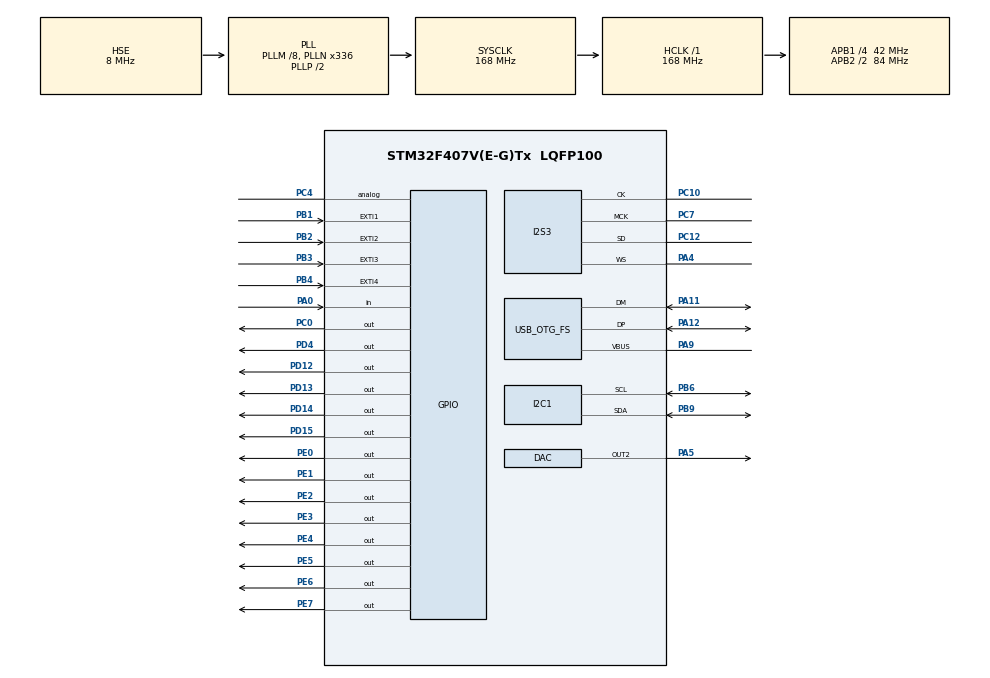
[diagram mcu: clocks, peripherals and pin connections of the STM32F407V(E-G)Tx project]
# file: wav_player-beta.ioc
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Dma.Request0=SPI3_TX
Dma.SPI3_TX.0.Direction=DMA_MEMORY_TO_PERIPH
Dma.SPI3_TX.0.FIFOMode=DMA_FIFOMODE_ENABLE
Dma.SPI3_TX.0.FIFOThreshold=DMA_FIFO_THRESHOLD_FULL
Dma.SPI3_TX.0.Instance=DMA1_Stream5
Dma.SPI3_TX.0.MemBurst=DMA_MBURST_SINGLE
Dma.SPI3_TX.0.MemDataAlignment=DMA_MDATAALIGN_HALFWORD
Dma.SPI3_TX.0.MemInc=DMA_MINC_ENABLE
Dma.SPI3_TX.0.Mode=DMA_CIRCULAR
Dma.SPI3_TX.0.PeriphBurst=DMA_PBURST_SINGLE
Dma.SPI3_TX.0.PeriphDataAlignment=DMA_PDATAALIGN_HALFWORD
Dma.SPI3_TX.0.PeriphInc=DMA_PINC_DISABLE
Dma.SPI3_TX.0.Priority=DMA_PRIORITY_LOW
I2S3.AudioFreq=I2S_AUDIOFREQ_44K
I2S3.ErrorAudioFreq=0.24 %
I2S3.FullDuplexMode=I2S_FULLDUPLEXMODE_DISABLE
I2S3.Instance=SPI$Index
I2S3.RealAudioFreq=44.108 KHz
I2S3.VirtualMode=I2S_MODE_MASTER
Mcu.Family=STM32F4
Mcu.Name=STM32F407V(E-G)Tx
Mcu.Package=LQFP100
NVIC.DMA1_Stream5_IRQn=true\:0\:0\:false\:false\:true\:false\:true\:true
NVIC.EXTI1_IRQn=true\:0\:0\:false\:false\:true\:true\:true\:true
NVIC.EXTI2_IRQn=true\:0\:0\:false\:false\:true\:true\:true\:true
NVIC.EXTI3_IRQn=true\:0\:0\:false\:false\:true\:true\:true\:true
NVIC.EXTI4_IRQn=true\:0\:0\:false\:false\:true\:true\:true\:true
NVIC.OTG_FS_IRQn=true\:0\:0\:false\:false\:true\:false\:true\:true
NVIC.PriorityGroup=NVIC_PRIORITYGROUP_0
PA0-WKUP.Signal=GPIO_Input
PA11.Mode=Host_Only
PA11.Signal=USB_OTG_FS_DM
PA12.Mode=Host_Only
PA12.Signal=USB_OTG_FS_DP
PA4.Mode=Half_Duplex_Master
PA4.Signal=I2S3_WS
PA5.Signal=COMP_DAC2_group
PA9.Mode=Activate_VBUS
PA9.Signal=USB_OTG_FS_VBUS
PB1.GPIO_PuPd=GPIO_PULLDOWN
PB1.Signal=GPXTI1
PB2.GPIO_PuPd=GPIO_PULLDOWN
PB2.Signal=GPXTI2
PB3.GPIO_PuPd=GPIO_PULLDOWN
PB3.Signal=GPXTI3
PB4.GPIO_PuPd=GPIO_PULLDOWN
PB4.Signal=GPXTI4
PB6.Mode=I2C
PB6.Signal=I2C1_SCL
PB9.Mode=I2C
PB9.Signal=I2C1_SDA
PC0.Signal=GPIO_Output
PC10.Mode=Half_Duplex_Master
PC10.Signal=I2S3_CK
PC12.Mode=Half_Duplex_Master
PC12.Signal=I2S3_SD
PC4.Signal=GPIO_Analog
PC7.Mode=Master_Clock_Activated
PC7.Signal=I2S3_MCK
PD12.GPIO_PuPd=GPIO_NOPULL
PD12.Signal=GPIO_Output
PD13.GPIO_PuPd=GPIO_NOPULL
PD13.Signal=GPIO_Output
PD14.GPIO_PuPd=GPIO_NOPULL
PD14.Signal=GPIO_Output
PD15.GPIO_PuPd=GPIO_NOPULL
PD15.Signal=GPIO_Output
PD4.Signal=GPIO_Output
PE0.Signal=GPIO_Output
PE1.Signal=GPIO_Output
PE2.Signal=GPIO_Output
PE3.Signal=GPIO_Output
PE4.Signal=GPIO_Output
PE5.Signal=GPIO_Output
PE6.Signal=GPIO_Output
PE7.Signal=GPIO_Output
PH0-OSC_IN.Mode=HSE-External-Oscillator
PH0-OSC_IN.Signal=RCC_OSC_IN
PH1-OSC_OUT.Mode=HSE-External-Oscillator
PH1-OSC_OUT.Signal=RCC_OSC_OUT
ProjectManager.HeapSize=0x2000
ProjectManager.StackSize=0x2000
ProjectManager.TargetToolchain=STM32CubeIDE
RCC.48MHZClocksFreq_Value=48000000
RCC.AHBFreq_Value=168000000
RCC.APB1CLKDivider=RCC_HCLK_DIV4
RCC.APB1Freq_Value=42000000
RCC.APB1TimFreq_Value=84000000
RCC.APB2CLKDivider=RCC_HCLK_DIV2
RCC.APB2Freq_Value=84000000
RCC.APB2TimFreq_Value=168000000
RCC.CortexFreq_Value=168000000
RCC.HCLKFreq_Value=168000000
RCC.HSE_VALUE=8000000
RCC.HSI_VALUE=16000000
RCC.LSE_VALUE=32768
RCC.PLLI2SN=271
RCC.PLLI2SR=6
RCC.PLLM=8
RCC.PLLN=336
RCC.PLLQ=7
RCC.SYSCLKFreq_VALUE=168000000
RCC.SYSCLKSource=RCC_SYSCLKSOURCE_PLLCLK
RCC.VCOOutputFreq_Value=336000000
SH.COMP_DAC2_group.0=DAC_OUT2,DAC_OUT2
TIM1.Period=0xFFFF-1
TIM1.Prescaler=72-1
USB_HOST.USBH_HandleTypeDef-MSC_FS=hUsbHostFS
USB_HOST.VirtualModeFS=Msc
USB_OTG_FS.VirtualMode=Host_Only
USB_OTG_FS.phy_itface=HCD_PHY_EMBEDDED
VP_FATFS_VS_USB.Mode=USB
VP_TIM1_VS_ClockSourceINT.Mode=Internal
VP_USB_HOST_VS_USB_HOST_MSC_FS.Mode=MSC_FS
board=STM32F407G-DISC1

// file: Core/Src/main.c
/* USER CODE BEGIN Header */
/*
 *  main.c
 *  @description: The header file for the application entry. Inside
 *  the application entry header file, only the error handler function
 *  is allowed to be exposed to public, the main application entry is
 *  internal.
 *
 *  @Reference:
 *  1.The ST Code Generation Feature via *.ioc file edit.
 *  https://www.alldatasheet.com/datasheet-pdf/pdf/63673/HITACHI/HD44780.html
 *  2.ST open-source HAL GPIO drivers
 *  3. https://github.com/MYaqoobEmbedded/STM32-Tutorials/tree/master/Tutorial%2043%20-%20WAV%20Player
 *
 *  @Code Leverage: The main( ) of the above tutorial is studied as the reference
 *  for the main program logic. The implementation takes the tutorial implementation
 *  as the reference. Specifically, the application state logic is leveraged.
 *
 *  @Author: Shuran Xu & Ritika Ramchandani
 *  @Revision: 2.0
 *  @Date 2022-12-12
 */
/* USER CODE END Header */
#include "main.h"
#include "fatfs.h"
#include "usb_host.h"

/* USER CODE BEGIN Includes */
#include "cs43l22.h"
#include "wav_player.h"
#include "lcd.h"
#include <string.h>
#include <stdio.h>
/* USER CODE END Includes */

/* USER CODE BEGIN PTD */
extern ApplicationTypeDef Appli_state;
/* USER CODE END PTD */

DAC_HandleTypeDef hdac;

I2C_HandleTypeDef hi2c1;

I2S_HandleTypeDef hi2s3;
DMA_HandleTypeDef hdma_spi3_tx;

TIM_HandleTypeDef htim1;

/* USER CODE BEGIN PV */
#define NUM_SONGS 			(11)
#define DEFAULT_SONG_IDX 	(1)
#define GREEN_LED	        (GPIO_PIN_12)
#define ORANGE_LED			(GPIO_PIN_13)
#define RED_LED				(GPIO_PIN_14)
#define BLUE_LED			(GPIO_PIN_15)
#define PUSH_BUTTON1		(GPIO_PIN_0)
#define EXT_PB1				(GPIO_PIN_1)
#define EXT_PB2				(GPIO_PIN_2)
#define EXT_PB3				(GPIO_PIN_3)
#define EXT_PB4				(GPIO_PIN_4)
#define DELAY_200MS			(200)
#define DELAY_500MS			(500)
#define DELAY_1S			(1000)
#define DELAY_4S			(4000)

const char* songs[NUM_SONGS] = {"Song1.wav", "Song2.wav", "Song3.wav", "Song4.wav", "Song5.wav", "Song6.wav",
		"Song7.wav", "Song8.wav", "Song9.wav", "Song10.wav", "Song11.wav"};
/* USER CODE END PV */

void SystemClock_Config(void);
static void MX_GPIO_Init(void);
static void MX_DMA_Init(void);
static void MX_I2C1_Init(void);
static void MX_I2S3_Init(void);
static void MX_TIM1_Init(void);
static void MX_DAC_Init(void);
void MX_USB_HOST_Process(void);

/* USER CODE BEGIN PFP */
typedef enum{
	CURR_SONG=0,
	NEXT_SONG,
	PREV_SONG
}song_mov_t;
/* USER CODE END PFP */

/* USER CODE BEGIN 0 */
volatile uint8_t volume = 200;
volatile uint8_t song_idx = DEFAULT_SONG_IDX;
volatile song_mov_t song_mov = CURR_SONG;

static void display_song_info(void)
{
	lcd_clear();
	HAL_Delay(DELAY_500MS);
	lcd_update_cur(0, 0);
	char str[64];
	sprintf(str,"Song:%s", songs[song_idx]);
	lcd_write_string(str);
	lcd_update_cur(1, 0);
	sprintf(str,"Volume(dB):%d", volume);
	lcd_write_string(str);
}

static void update_volume_display(void)
{
	char str[32];
	lcd_update_cur(1, 0);
	sprintf(str,"Volume(dB):%d", volume);
	lcd_write_string(str);
}

/* USER CODE END 0 */

int main(void)
{

  /* MCU Configuration--------------------------------------------------------*/

  /* Reset of all peripherals, Initializes the Flash interface and the Systick. */
  HAL_Init();

  /* Configure the system clock */
  SystemClock_Config();

  /* Initialize all configured peripherals */
  MX_GPIO_Init();
  MX_DMA_Init();
  MX_I2C1_Init();
  MX_I2S3_Init();
  MX_FATFS_Init();
  MX_USB_HOST_Init();
  MX_TIM1_Init();
  MX_DAC_Init();
  /* USER CODE BEGIN 2 */

  HAL_TIM_Base_Start(&htim1);
  lcd_init ();
  lcd_clear();
  HAL_Delay(DELAY_1S);
  lcd_update_cur(0, 0);
  lcd_write_string("MINI ");
  lcd_write_string("WAV Player ");
  HAL_Delay(DELAY_4S);
  lcd_clear();

  CS43_init(hi2c1);
  wavPlayer_reset();

  volatile bool isSdCardMounted = 0;
  volatile bool pauseResumeToggle = 0;
  volatile bool start_song = 0;

  song_idx = DEFAULT_SONG_IDX;
  /* USER CODE END 2 */

  /* Infinite loop */
  while (1)
  {
    MX_USB_HOST_Process();

    /* USER CODE BEGIN 3 */
    if(Appli_state == APPLICATION_START)
    {
    	HAL_GPIO_WritePin(GPIOD, GREEN_LED, GPIO_PIN_SET);
    }
    else if(Appli_state == APPLICATION_DISCONNECT)
    {
    	HAL_GPIO_WritePin(GPIOD, GREEN_LED, GPIO_PIN_RESET);
    }

    if(Appli_state == APPLICATION_READY)
    {
    	if(!isSdCardMounted)
    	{
    		isSdCardMounted = 1;
    		f_mount(&USBHFatFS, (const TCHAR*)USBHPath, 0);
    	}

    	int button_pressed = HAL_GPIO_ReadPin(GPIOA, PUSH_BUTTON1);
    	if(button_pressed){
    		start_song = 1;
    	}

    	if(start_song)
    	{
    		HAL_GPIO_WritePin(GPIOD, ORANGE_LED, GPIO_PIN_SET);
    		HAL_Delay(500);
    		if(wavPlayer_openFile(songs[song_idx])){
    			display_song_info();
				wavPlayer_play();
			}

    		while(!is_wavPlayer_finished_Playing())
    		{
    			if((song_mov == PREV_SONG) || (song_mov == NEXT_SONG)){
    				// reset song_mov
    				song_mov = CURR_SONG;
    				wavPlayer_stop();
    				if(wavPlayer_openFile(songs[song_idx])){
    					display_song_info();
    					wavPlayer_play();
    				}
    			}
    			else{
    				wavPlayer_proceed();
					if(HAL_GPIO_ReadPin(GPIOA, PUSH_BUTTON1))
					{
						pauseResumeToggle ^= 1;
						if(pauseResumeToggle)
						{
							HAL_GPIO_WritePin(GPIOD, RED_LED, GPIO_PIN_SET);
							wavPlayer_pause();
							HAL_Delay(DELAY_200MS);
						}
						else
						{
							HAL_GPIO_WritePin(GPIOD, RED_LED, GPIO_PIN_RESET);
							HAL_Delay(DELAY_1S);
							wavPlayer_resume();
						}
					}
				}
    		}

    		/* increase the song index if there are pending songs available */
    		if(song_idx < NUM_SONGS){
				 song_idx++;
			 }

    		HAL_GPIO_WritePin(GPIOD, ORANGE_LED, GPIO_PIN_RESET);
    		HAL_Delay(DELAY_1S);
    	}

    }
  }
  /* USER CODE END 3 */
}

void SystemClock_Config(void)
{
  RCC_OscInitTypeDef RCC_OscInitStruct = {0};
  RCC_ClkInitTypeDef RCC_ClkInitStruct = {0};

  /** Configure the main internal regulator output voltage
  */
  __HAL_RCC_PWR_CLK_ENABLE();
  __HAL_PWR_VOLTAGESCALING_CONFIG(PWR_REGULATOR_VOLTAGE_SCALE1);

  /** Initializes the RCC Oscillators according to the specified parameters
  * in the RCC_OscInitTypeDef structure.
  */
  RCC_OscInitStruct.OscillatorType = RCC_OSCILLATORTYPE_HSE;
  RCC_OscInitStruct.HSEState = RCC_HSE_ON;
  RCC_OscInitStruct.PLL.PLLState = RCC_PLL_ON;
  RCC_OscInitStruct.PLL.PLLSource = RCC_PLLSOURCE_HSE;
  RCC_OscInitStruct.PLL.PLLM = 8;
  RCC_OscInitStruct.PLL.PLLN = 336;
  RCC_OscInitStruct.PLL.PLLP = RCC_PLLP_DIV2;
  RCC_OscInitStruct.PLL.PLLQ = 7;
  if (HAL_RCC_OscConfig(&RCC_OscInitStruct) != HAL_OK)
  {
    Error_Handler();
  }

  /** Initializes the CPU, AHB and APB buses clocks
  */
  RCC_ClkInitStruct.ClockType = RCC_CLOCKTYPE_HCLK|RCC_CLOCKTYPE_SYSCLK
                              |RCC_CLOCKTYPE_PCLK1|RCC_CLOCKTYPE_PCLK2;
  RCC_ClkInitStruct.SYSCLKSource = RCC_SYSCLKSOURCE_PLLCLK;
  RCC_ClkInitStruct.AHBCLKDivider = RCC_SYSCLK_DIV1;
  RCC_ClkInitStruct.APB1CLKDivider = RCC_HCLK_DIV4;
  RCC_ClkInitStruct.APB2CLKDivider = RCC_HCLK_DIV2;

  if (HAL_RCC_ClockConfig(&RCC_ClkInitStruct, FLASH_LATENCY_5) != HAL_OK)
  {
    Error_Handler();
  }
}

static void MX_DAC_Init(void)
{

  DAC_ChannelConfTypeDef sConfig = {0};

  /** DAC Initialization
  */
  hdac.Instance = DAC;
  if (HAL_DAC_Init(&hdac) != HAL_OK)
  {
    Error_Handler();
  }

  /** DAC channel OUT2 config
  */
  sConfig.DAC_Trigger = DAC_TRIGGER_NONE;
  sConfig.DAC_OutputBuffer = DAC_OUTPUTBUFFER_ENABLE;
  if (HAL_DAC_ConfigChannel(&hdac, &sConfig, DAC_CHANNEL_2) != HAL_OK)
  {
    Error_Handler();
  }

}

static void MX_I2C1_Init(void)
{

  hi2c1.Instance = I2C1;
  hi2c1.Init.ClockSpeed = 100000;
  hi2c1.Init.DutyCycle = I2C_DUTYCYCLE_2;
  hi2c1.Init.OwnAddress1 = 0;
  hi2c1.Init.AddressingMode = I2C_ADDRESSINGMODE_7BIT;
  hi2c1.Init.DualAddressMode = I2C_DUALADDRESS_DISABLE;
  hi2c1.Init.OwnAddress2 = 0;
  hi2c1.Init.GeneralCallMode = I2C_GENERALCALL_DISABLE;
  hi2c1.Init.NoStretchMode = I2C_NOSTRETCH_DISABLE;
  if (HAL_I2C_Init(&hi2c1) != HAL_OK)
  {
    Error_Handler();
  }

}

static void MX_I2S3_Init(void)
{

  hi2s3.Instance = SPI3;
  hi2s3.Init.Mode = I2S_MODE_MASTER_TX;
  hi2s3.Init.Standard = I2S_STANDARD_PHILIPS;
  hi2s3.Init.DataFormat = I2S_DATAFORMAT_16B;
  hi2s3.Init.MCLKOutput = I2S_MCLKOUTPUT_ENABLE;
  hi2s3.Init.AudioFreq = I2S_AUDIOFREQ_44K;
  hi2s3.Init.CPOL = I2S_CPOL_LOW;
  hi2s3.Init.ClockSource = I2S_CLOCK_PLL;
  hi2s3.Init.FullDuplexMode = I2S_FULLDUPLEXMODE_DISABLE;
  if (HAL_I2S_Init(&hi2s3) != HAL_OK)
  {
    Error_Handler();
  }

}

static void MX_TIM1_Init(void)
{

  TIM_ClockConfigTypeDef sClockSourceConfig = {0};
  TIM_MasterConfigTypeDef sMasterConfig = {0};

  htim1.Instance = TIM1;
  htim1.Init.Prescaler = 72-1;
  htim1.Init.CounterMode = TIM_COUNTERMODE_UP;
  htim1.Init.Period = 0xFFFF-1;
  htim1.Init.ClockDivision = TIM_CLOCKDIVISION_DIV1;
  htim1.Init.RepetitionCounter = 0;
  htim1.Init.AutoReloadPreload = TIM_AUTORELOAD_PRELOAD_DISABLE;
  if (HAL_TIM_Base_Init(&htim1) != HAL_OK)
  {
    Error_Handler();
  }
  sClockSourceConfig.ClockSource = TIM_CLOCKSOURCE_INTERNAL;
  if (HAL_TIM_ConfigClockSource(&htim1, &sClockSourceConfig) != HAL_OK)
  {
    Error_Handler();
  }
  sMasterConfig.MasterOutputTrigger = TIM_TRGO_RESET;
  sMasterConfig.MasterSlaveMode = TIM_MASTERSLAVEMODE_DISABLE;
  if (HAL_TIMEx_MasterConfigSynchronization(&htim1, &sMasterConfig) != HAL_OK)
  {
    Error_Handler();
  }

}

static void MX_DMA_Init(void)
{

  /* DMA controller clock enable */
  __HAL_RCC_DMA1_CLK_ENABLE();

  /* DMA interrupt init */
  /* DMA1_Stream5_IRQn interrupt configuration */
  HAL_NVIC_SetPriority(DMA1_Stream5_IRQn, 0, 0);
  HAL_NVIC_EnableIRQ(DMA1_Stream5_IRQn);

}

static void MX_GPIO_Init(void)
{
  GPIO_InitTypeDef GPIO_InitStruct = {0};

  /* GPIO Ports Clock Enable */
  __HAL_RCC_GPIOE_CLK_ENABLE();
  __HAL_RCC_GPIOH_CLK_ENABLE();
  __HAL_RCC_GPIOC_CLK_ENABLE();
  __HAL_RCC_GPIOA_CLK_ENABLE();
  __HAL_RCC_GPIOB_CLK_ENABLE();
  __HAL_RCC_GPIOD_CLK_ENABLE();

  /*Configure GPIO pin Output Level */
  HAL_GPIO_WritePin(GPIOE, GPIO_PIN_2|GPIO_PIN_3|GPIO_PIN_4|GPIO_PIN_5
                          |GPIO_PIN_6|GPIO_PIN_7|GPIO_PIN_0|GPIO_PIN_1, GPIO_PIN_RESET);

  /*Configure GPIO pin Output Level */
  HAL_GPIO_WritePin(GPIOC, PUSH_BUTTON1, GPIO_PIN_RESET);

  /*Configure GPIO pin Output Level */
  HAL_GPIO_WritePin(GPIOD, GREEN_LED|ORANGE_LED|RED_LED|BLUE_LED
                          |GPIO_PIN_4, GPIO_PIN_RESET);

  /*Configure GPIO pins : PE2 PE3 PE4 PE5
                           PE6 PE7 PE0 PE1 */
  GPIO_InitStruct.Pin = GPIO_PIN_2|GPIO_PIN_3|GPIO_PIN_4|GPIO_PIN_5
                          |GPIO_PIN_6|GPIO_PIN_7|GPIO_PIN_0|GPIO_PIN_1;
  GPIO_InitStruct.Mode = GPIO_MODE_OUTPUT_PP;
  GPIO_InitStruct.Pull = GPIO_NOPULL;
  GPIO_InitStruct.Speed = GPIO_SPEED_FREQ_LOW;
  HAL_GPIO_Init(GPIOE, &GPIO_InitStruct);

  /*Configure GPIO pin : PC0 */
  GPIO_InitStruct.Pin = GPIO_PIN_0;
  GPIO_InitStruct.Mode = GPIO_MODE_OUTPUT_PP;
  GPIO_InitStruct.Pull = GPIO_NOPULL;
  GPIO_InitStruct.Speed = GPIO_SPEED_FREQ_LOW;
  HAL_GPIO_Init(GPIOC, &GPIO_InitStruct);

  /*Configure GPIO pin : PA0 */
  GPIO_InitStruct.Pin = GPIO_PIN_0;
  GPIO_InitStruct.Mode = GPIO_MODE_INPUT;
  GPIO_InitStruct.Pull = GPIO_NOPULL;
  HAL_GPIO_Init(GPIOA, &GPIO_InitStruct);

  /*Configure GPIO pin : PC4 */
  GPIO_InitStruct.Pin = GPIO_PIN_4;
  GPIO_InitStruct.Mode = GPIO_MODE_ANALOG;
  GPIO_InitStruct.Pull = GPIO_NOPULL;
  HAL_GPIO_Init(GPIOC, &GPIO_InitStruct);

  /*Configure GPIO pins : PB1 PB2 PB3 PB4 */
  GPIO_InitStruct.Pin = EXT_PB1|EXT_PB2|EXT_PB3|EXT_PB4;
  GPIO_InitStruct.Mode = GPIO_MODE_IT_RISING;
  GPIO_InitStruct.Pull = GPIO_PULLDOWN;
  HAL_GPIO_Init(GPIOB, &GPIO_InitStruct);

  /*Configure GPIO pins : PD12 PD13 PD14 PD15
                           PD4 */
  GPIO_InitStruct.Pin = GREEN_LED|ORANGE_LED|RED_LED|BLUE_LED
                          |GPIO_PIN_4;
  GPIO_InitStruct.Mode = GPIO_MODE_OUTPUT_PP;
  GPIO_InitStruct.Pull = GPIO_NOPULL;
  GPIO_InitStruct.Speed = GPIO_SPEED_FREQ_LOW;
  HAL_GPIO_Init(GPIOD, &GPIO_InitStruct);

  /* EXTI interrupt init*/
  HAL_NVIC_SetPriority(EXTI1_IRQn, 0, 0);
  HAL_NVIC_EnableIRQ(EXTI1_IRQn);

  HAL_NVIC_SetPriority(EXTI2_IRQn, 0, 0);
  HAL_NVIC_EnableIRQ(EXTI2_IRQn);

  HAL_NVIC_SetPriority(EXTI3_IRQn, 0, 0);
  HAL_NVIC_EnableIRQ(EXTI3_IRQn);

  HAL_NVIC_SetPriority(EXTI4_IRQn, 0, 0);
  HAL_NVIC_EnableIRQ(EXTI4_IRQn);

}

/* USER CODE BEGIN 4 */
void HAL_GPIO_EXTI_Callback(uint16_t GPIO_Pin)
{
  /* Prevent unused argument(s) compilation warning */
  /* NOTE: This function Should not be modified, when the callback is needed,
           the HAL_GPIO_EXTI_Callback could be implemented in the user file
   */
  HAL_GPIO_TogglePin(GPIOD, GPIO_PIN_15);
  for(uint32_t i = 0; i < 10000; i++);

  if(GPIO_Pin == EXT_PB1)
  {

	  if(volume <= 250){
		  volume+= 5;
		  wavPlayer_setVolume(volume);
		  update_volume_display();
	  }
  }
  else if(GPIO_Pin == EXT_PB2)
  {
	  if(volume > 5){
		  volume -= 5;
		  wavPlayer_setVolume(volume);
		  update_volume_display();
	  }

  }
  else if(GPIO_Pin == EXT_PB3)
  {
	 if(song_idx < NUM_SONGS){
		 song_idx++;
		 song_mov = NEXT_SONG;
	 }
  }
  else if(GPIO_Pin == EXT_PB4)
  {
	  if(song_idx > 0){
		  song_idx--;
		  song_mov = PREV_SONG;
	  }
  }
}
/* USER CODE END 4 */

void Error_Handler(void)
{
  __disable_irq();
  while (1)
  {
  }
}
